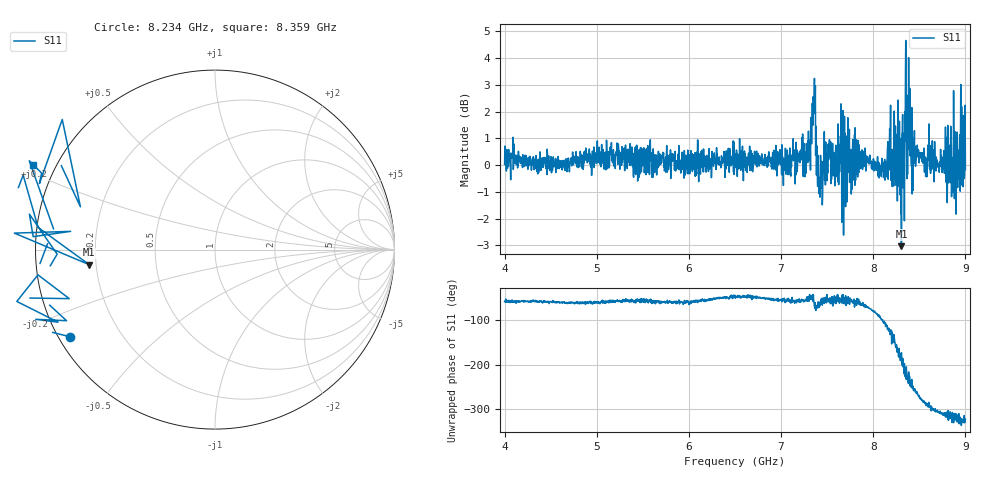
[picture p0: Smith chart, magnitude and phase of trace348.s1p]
! Created with skrf 1.8.0 (http://scikit-rf.org).
# Hz S RI R 50.0
!freq ReS11 ImS11
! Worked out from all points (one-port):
!   1601 points, 4 GHz to 9 GHz, reference 50 ohm
!   lowest |S11| = -3.0 dB at 8.306 GHz (marker M1), VSWR 5.79, Z = 8.67 - j2.9 ohm
!   |S11| at or under -10 dB: nowhere
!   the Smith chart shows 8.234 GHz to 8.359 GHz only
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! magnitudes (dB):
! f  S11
! 4 GHz  0.0
! 4.625 GHz  -0.2
! 5.25 GHz  -0.2
! 5.875 GHz  0.1
! 6.5 GHz  0.3
! 7.125 GHz  0.4
! 7.281 GHz  0.3
! 7.347 GHz  2.5
! 7.366 GHz  1.9
! 7.4 GHz  0.4
! 7.428 GHz  0.4
! 7.509 GHz  0.0
! 7.591 GHz  0.5
! 7.65 GHz  2.3
! 7.75 GHz  -0.5
! 8.125 GHz  0.2
! 8.178 GHz  1.4
! 8.306 GHz  -3.0
! 8.322 GHz  -0.8
! 8.334 GHz  1.0
! 8.347 GHz  0.9
! 8.375 GHz  1.0
! 8.412 GHz  0.1
! 8.447 GHz  1.3
! 8.822 GHz  0.8
! 8.841 GHz  1.5
! 8.972 GHz  -0.3
! 9 GHz  -0.2
